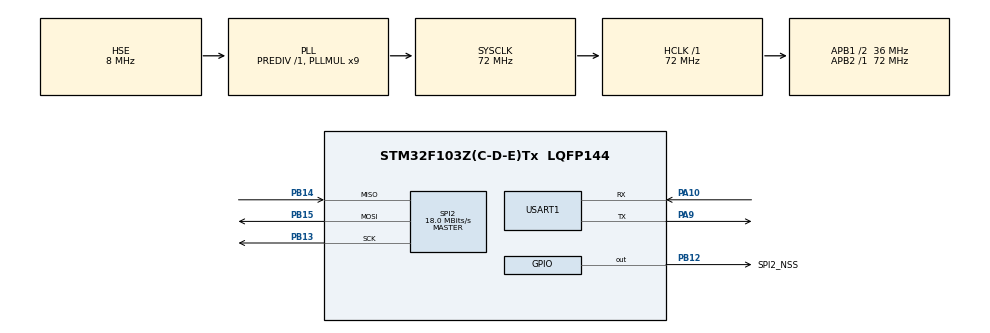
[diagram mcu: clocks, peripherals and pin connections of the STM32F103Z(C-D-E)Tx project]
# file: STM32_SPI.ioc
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Mcu.Family=STM32F1
Mcu.Name=STM32F103Z(C-D-E)Tx
Mcu.Package=LQFP144
NVIC.PriorityGroup=NVIC_PRIORITYGROUP_4
OSC_IN.Mode=HSE-External-Oscillator
OSC_IN.Signal=RCC_OSC_IN
OSC_OUT.Mode=HSE-External-Oscillator
OSC_OUT.Signal=RCC_OSC_OUT
PA10.Mode=Asynchronous
PA10.Signal=USART1_RX
PA9.Mode=Asynchronous
PA9.Signal=USART1_TX
PB12.GPIO_Label=SPI2_NSS
PB12.Signal=GPIO_Output
PB13.Mode=Full_Duplex_Master
PB13.Signal=SPI2_SCK
PB14.Mode=Full_Duplex_Master
PB14.Signal=SPI2_MISO
PB15.Mode=Full_Duplex_Master
PB15.Signal=SPI2_MOSI
ProjectManager.HeapSize=0x200
ProjectManager.StackSize=0x400
ProjectManager.TargetToolchain=MDK-ARM V5.27
RCC.AHBFreq_Value=72000000
RCC.APB1CLKDivider=RCC_HCLK_DIV2
RCC.APB1Freq_Value=36000000
RCC.APB1TimFreq_Value=72000000
RCC.APB2Freq_Value=72000000
RCC.APB2TimFreq_Value=72000000
RCC.HCLKFreq_Value=72000000
RCC.PLLMUL=RCC_PLL_MUL9
RCC.PLLSourceVirtual=RCC_PLLSOURCE_HSE
RCC.SYSCLKFreq_VALUE=72000000
RCC.SYSCLKSource=RCC_SYSCLKSOURCE_PLLCLK
RCC.USBFreq_Value=72000000
SPI2.BaudRatePrescaler=SPI_BAUDRATEPRESCALER_2
SPI2.CRCCalculation=SPI_CRCCALCULATION_DISABLE
SPI2.CalculateBaudRate=18.0 MBits/s
SPI2.Direction=SPI_DIRECTION_2LINES
SPI2.Mode=SPI_MODE_MASTER
SPI2.VirtualType=VM_MASTER
USART1.VirtualMode=VM_ASYNC
VP_SYS_VS_ND.Mode=No_Debug
board=custom

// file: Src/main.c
/* USER CODE BEGIN Header */
/**
  ******************************************************************************
  * @file           : main.c
  * @brief          : Main program body
  ******************************************************************************
  * @attention
  *
  * <h2><center>&copy; Copyright (c) 2021 STMicroelectronics.
  * All rights reserved.</center></h2>
  *
  * This software component is licensed by ST under BSD 3-Clause license,
  * the "License"; You may not use this file except in compliance with the
  * License. You may obtain a copy of the License at:
  *                        opensource.org/licenses/BSD-3-Clause
  *
  ******************************************************************************
  */
/* USER CODE END Header */

#include "main.h"
#include "spi.h"
#include "usart.h"
#include "gpio.h"

/* USER CODE BEGIN Includes */
#include "w25q64.h"
#include <stdio.h>
#include <string.h>

/* USER CODE END Includes */

/* USER CODE BEGIN PD */

#define  FLASH_WriteAddress     0x00000
#define  FLASH_ReadAddress      FLASH_WriteAddress
#define  FLASH_SectorToErase    FLASH_WriteAddress

//数据缓冲区长度
//numel	返回所查询目标所含有的元素个数
#define numel(a)		(sizeof(a) / sizeof(*(a)))
//#define TxBufferSize1   (numel(TxBuffer1) - 1)
//#define RxBufferSize1   (numel(TxBuffer1) - 1)
#define BufferSize 		(numel(Tx_Buffer) - 1)

/* USER CODE END PD */

/* USER CODE BEGIN PV */

uint32_t *p_FlashID;
uint8_t Tx_Buffer[] = "stm32开发板\r\n";
uint8_t Rx_Buffer[BufferSize];

/* USER CODE END PV */

void SystemClock_Config(void);

int main(void)
{

  /* MCU Configuration--------------------------------------------------------*/

  /* Reset of all peripherals, Initializes the Flash interface and the Systick. */
  HAL_Init();

  /* Configure the system clock */
  SystemClock_Config();

  /* Initialize all configured peripherals */
  MX_GPIO_Init();
  MX_SPI2_Init();
  MX_USART1_UART_Init();
  /* USER CODE BEGIN 2 */

  //这是一个 SPI FLASH 实验
  printf("\r\n This is an SPI FLSH experiment \r\n");

  SPI_FLASH_ReadID(p_FlashID);

  while(*p_FlashID != '\0')
  {
	  printf("\r\nFlashID is 0x%X", *p_FlashID);
	  p_FlashID++;
  }

  //擦除扇区
  SPI_FLASH_Sector_Erase(FLASH_SectorToErase);

  //写数据并打印所写的数据
  SPI_FLASH_Page_Write(Tx_Buffer, FLASH_WriteAddress, BufferSize);
  printf("\r\nThe data Written is: \r\n%s",  Tx_Buffer);

  //读数据并打印读到的数据
  SPI_FLASH_Read_Data(Rx_Buffer, FLASH_ReadAddress, BufferSize);
  printf("\r\nThe data Written is: \r\n%s",  Rx_Buffer);

  /* USER CODE END 2 */

  /* Infinite loop */
  while (1)
  {

  }
}

void SystemClock_Config(void)
{
  RCC_OscInitTypeDef RCC_OscInitStruct = {0};
  RCC_ClkInitTypeDef RCC_ClkInitStruct = {0};

  /** Initializes the CPU, AHB and APB busses clocks
  */
  RCC_OscInitStruct.OscillatorType = RCC_OSCILLATORTYPE_HSE;
  RCC_OscInitStruct.HSEState = RCC_HSE_ON;
  RCC_OscInitStruct.HSEPredivValue = RCC_HSE_PREDIV_DIV1;
  RCC_OscInitStruct.HSIState = RCC_HSI_ON;
  RCC_OscInitStruct.PLL.PLLState = RCC_PLL_ON;
  RCC_OscInitStruct.PLL.PLLSource = RCC_PLLSOURCE_HSE;
  RCC_OscInitStruct.PLL.PLLMUL = RCC_PLL_MUL9;
  if (HAL_RCC_OscConfig(&RCC_OscInitStruct) != HAL_OK)
  {
    Error_Handler();
  }
  /** Initializes the CPU, AHB and APB busses clocks
  */
  RCC_ClkInitStruct.ClockType = RCC_CLOCKTYPE_HCLK|RCC_CLOCKTYPE_SYSCLK
                              |RCC_CLOCKTYPE_PCLK1|RCC_CLOCKTYPE_PCLK2;
  RCC_ClkInitStruct.SYSCLKSource = RCC_SYSCLKSOURCE_PLLCLK;
  RCC_ClkInitStruct.AHBCLKDivider = RCC_SYSCLK_DIV1;
  RCC_ClkInitStruct.APB1CLKDivider = RCC_HCLK_DIV2;
  RCC_ClkInitStruct.APB2CLKDivider = RCC_HCLK_DIV1;

  if (HAL_RCC_ClockConfig(&RCC_ClkInitStruct, FLASH_LATENCY_2) != HAL_OK)
  {
    Error_Handler();
  }
}

void Error_Handler(void)
{
}

/************************ (C) COPYRIGHT STMicroelectronics *****END OF FILE****/
